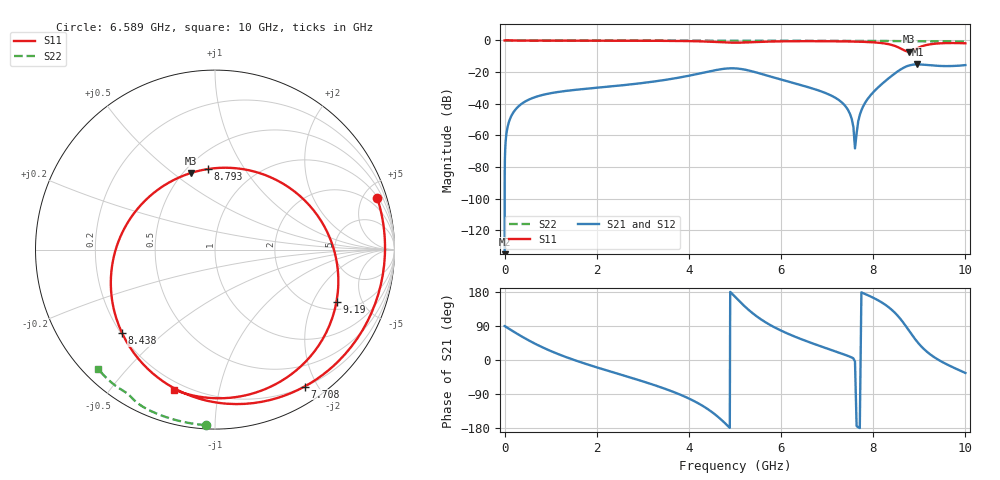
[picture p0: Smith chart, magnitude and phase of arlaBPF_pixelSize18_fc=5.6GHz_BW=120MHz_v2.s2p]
! Created Wed Aug 10 21:53:18 2022
! List of port names and net name(s): example Port n = <port_name> <net_name1> <net_name2> ...
! Port 1 = P1 P2
! Port 2 = P2 P2
# hz S ma R 50
! 2 Port Network Data from data block
! freq  magS11  angS11  magS21  angS21  magS12  angS12  magS22  angS22
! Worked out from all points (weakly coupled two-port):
!   505 points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, 9.691 Hz to 10 GHz, reference 50 ohm
!   highest |S21| = -15.12 dB at 8.958 GHz (marker M1); lowest = -191.1 dB at 9.691 Hz (marker M2)
!   lowest |S11| = -7.0 dB at 8.767 GHz (marker M3), VSWR 2.62, Z = 27.2 + j29 ohm
!   |S11| at or under -10 dB: nowhere
!   |S22| runs from -0.6 to 0.0 dB; largest |S21 - S12| = 0
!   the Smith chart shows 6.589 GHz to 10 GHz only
!   S11 on the Smith chart (normalised r, x): 6.589 GHz: 1.09, +6.27; 7.708 GHz: 0.20, -1.83; 8.438 GHz: 0.20, -0.37; 8.793 GHz: 0.62, +0.70; 9.19 GHz: 2.43, -3.08; 10 GHz: 0.16, -0.74
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9.69092  1 -0.0  2.792e-10 90.0  2.792e-10 90.0  1 -0.0
5.401235e7  0.9988 -7.5  0.001541 85.5  0.001541 85.5  0.9999 -0.8
2.777778e8  0.9943 -37.6  0.007661 68.8  0.007661 68.8  0.9993 -4.3
7.986111e8  0.9877 -98.0  0.01859 34.8  0.01859 34.8  0.998 -12.3
1.701389e9  0.9849 -170.7  0.02913 -7.9  0.02913 -7.9  0.9958 -26.0
3.368056e9  0.9733 86.4  0.05349 -71.1  0.05349 -71.1  0.9908 -50.4
4.375e9  0.9236 -7.2  0.1001 -126.9  0.1001 -126.9  0.9838 -64.5
4.756944e9  0.8699 -75.0  0.1271 -163.7  0.1271 -163.7  0.979 -69.5
5.013021e9  0.8494 -135.5  0.1309 165.2  0.1309 165.2  0.9775 -72.7
5.625e9  0.9122 106.7  0.08344 102.4  0.08344 102.4  0.9809 -80.6
6.588542e9  0.9486 17.6  0.03336 48.0  0.03336 48.0  0.9792 -93.0
6.666667e9  0.9486 12.2  0.03083 44.6  0.03083 44.6  0.9789 -94.0
7.34375e9  0.9348 -32.0  0.01018 15.6  0.01018 15.6  0.9747 -102.5
7.604167e9  0.9202 -49.4  0.000387 -4.3  0.000387 -4.3  0.9727 -105.8
7.708333e9  0.9117 -56.8  0.004437 -179.6  0.004437 -179.6  0.9718 -107.1
8.350694e9  0.7529 -122.3  0.06667 137.7  0.06667 137.7  0.962 -115.2
8.4375e9  0.6961 -138.1  0.08374 128.5  0.08374 128.5  0.9591 -116.4
8.767361e9  0.4475 107.7  0.1602 79.0  0.1602 79.0  0.9424 -120.1
8.793403e9  0.4507 95.0  0.1643 74.5  0.1643 74.5  0.9413 -120.4
8.958333e9  0.5705 28.6  0.1753 47.5  0.1753 47.5  0.9381 -121.9
9.189815e9  0.7365 -23.2  0.1664 19.3  0.1664 19.3  0.939 -124.3
1e10  0.8129 -106.2  0.1666 -34.2  0.1666 -34.2  0.93 -134.4
